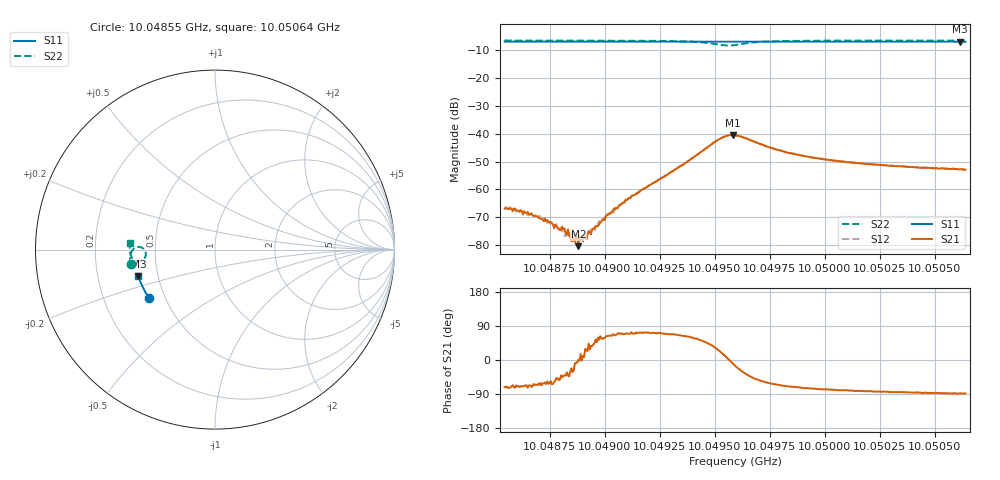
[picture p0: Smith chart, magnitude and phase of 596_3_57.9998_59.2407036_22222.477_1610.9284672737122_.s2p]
#  HZ  S  RI  R  50.00
! Rohde & Schwarz Vector Network Analyzer
! Rohde-Schwarz,ZNB20-2Port,1311601062101988,3.16
! Created: UTC 3/21/2024, 1:17:02 AM
! freq[Hz]  re:S11  im:S11  re:S21  im:S21  re:S12  im:S12  re:S22  im:S22
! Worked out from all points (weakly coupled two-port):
!   401 points, 10.04855 GHz to 10.05064 GHz, reference 50 ohm
!   highest |S21| = -40.49 dB at 10.04958 GHz (marker M1); lowest = -80.4 dB at 10.04888 GHz (marker M2)
!   lowest |S11| = -6.9 dB at 10.05061 GHz (marker M3), VSWR 2.65, Z = 19.3 - j7.23 ohm
!   |S11| at or under -10 dB: nowhere
!   |S22| runs from -8.3 to -6.4 dB; largest |S21 - S12| = 0.00069
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1.0048546e10  -0.3676 -0.2698  0.000143 -0.000426  0.000193 -0.000449  -0.4698 -0.0824
1.0048646e10  -0.3713 -0.2642  0.00015 -0.000345  0.00016 -0.000331  -0.4706 -0.075
1.0048698e10  -0.3732 -0.2615  0.000144 -0.000287  0.00015 -0.000292  -0.471 -0.0709
1.004874e10  -0.3748 -0.2591  0.000154 -0.000232  0.000133 -0.000213  -0.4714 -0.0678
1.0048792e10  -0.3766 -0.2562  0.000115 -0.000153  0.000126 -0.000174  -0.4717 -0.0636
1.0048818e10  -0.3775 -0.2548  0.000148 -0.000129  8.63e-05 -0.000118  -0.4719 -0.0614
1.0048855e10  -0.3787 -0.2527  0.0001 -6.2e-05  0.000164 -4.77e-05  -0.4719 -0.0586
1.0048881e10  -0.3797 -0.2513  9.5e-05 1.32e-06  0.000122 -5.1e-07  -0.4719 -0.0565
1.0048897e10  -0.3803 -0.2504  0.000144 -4.15e-06  0.000138 2.73e-05  -0.472 -0.0551
1.0048912e10  -0.3808 -0.2494  0.000127 7.19e-05  0.000138 5.71e-05  -0.472 -0.0538
1.0048954e10  -0.3823 -0.247  0.000141 0.000136  0.000148 0.000151  -0.4724 -0.0501
1.004898e10  -0.3831 -0.2455  0.000117 0.000225  0.000137 0.000221  -0.4722 -0.0478
1.0049085e10  -0.3865 -0.2396  0.000217 0.000536  0.000179 0.000552  -0.4718 -0.0379
1.0049247e10  -0.3917 -0.2303  0.000484 0.00142  0.000399 0.00145  -0.4682 -0.0193
1.0049519e10  -0.3995 -0.2141  0.0072 0.00334  0.00695 0.00385  -0.4019 0.00768
1.0049582e10  -0.4011 -0.2109  0.00933 -0.00151  0.00947 -0.000852  -0.3875 -0.0379
1.0049592e10  -0.4013 -0.2105  0.00907 -0.00241  0.00925 -0.00175  -0.3911 -0.0457
1.0049796e10  -0.4078 -0.1988  0.00201 -0.00456  0.00226 -0.0045  -0.463 -0.044
1.0049943e10  -0.4119 -0.1899  0.000947 -0.00361  0.00119 -0.00359  -0.4717 -0.0238
1.0050293e10  -0.4204 -0.1685  0.000232 -0.00266  0.000438 -0.00266  -0.4755 0.0095
1.0050612e10  -0.4271 -0.1487  7.64e-05 -0.00228  0.000182 -0.00233  -0.4744 0.034
1.0050638e10  -0.4278 -0.1472  7.37e-05 -0.00225  0.000177 -0.00228  -0.4746 0.0359
